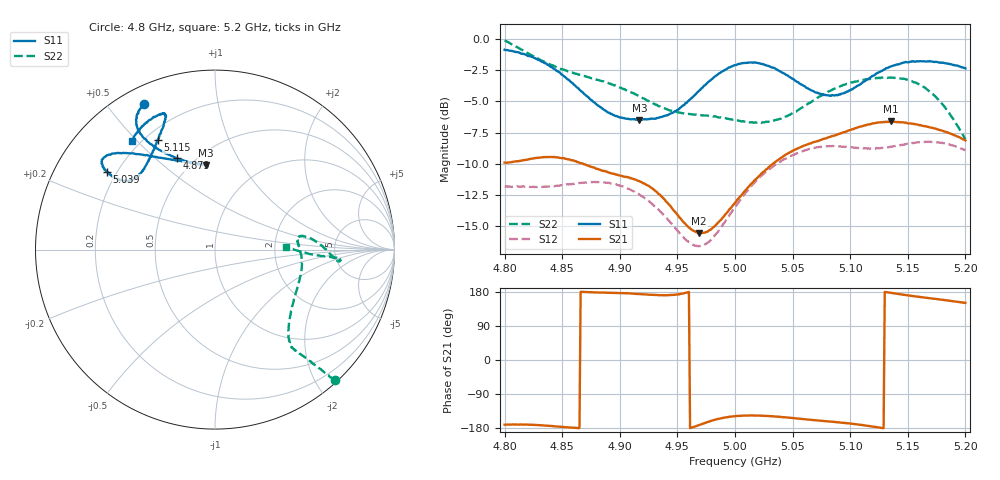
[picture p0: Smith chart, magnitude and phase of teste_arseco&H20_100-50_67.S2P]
! Network Analyzer HP8722D
! Hewlett-Packard
! Data name: Linha & Wilkinson
! Saver's name: Rodrigo Anjos
! Comments: Teste da utilização de aquisição
! continua pelo VNA HP8722D
! Time and date: 6/5/2025 13:07
!  Frequency  S11  S21  S12  S22
# HZ  S  MA R 50
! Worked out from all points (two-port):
!   401 points, 4.8 GHz to 5.2 GHz, reference 50 ohm
!   highest |S21| = -6.61 dB at 5.135 GHz (marker M1); lowest = -15.5 dB at 4.969 GHz (marker M2)
!   |S21| within 3 dB of the highest: 4.822 GHz to 4.854 GHz (31.33 MHz wide, 0.648 % of centre); 5.039 GHz to end of sweep
!   lowest |S11| = -6.5 dB at 4.917 GHz (marker M3), VSWR 2.80, Z = 29.2 + j35.6 ohm
!   |S11| at or under -10 dB: nowhere
!   |S22| runs from -8.0 to -0.1 dB; largest |S21 - S12| = 0.83
!   S11 on the Smith chart (normalised r, x): 4.8 GHz: 0.07, +0.62; 4.879 GHz: 0.40, +0.59; 5.039 GHz: 0.16, +0.31; 5.115 GHz: 0.25, +0.58; 5.2 GHz: 0.17, +0.48
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4.8e9  0.9047 115.9  0.3201 -170.7  0.2566 -86.1  0.9855 -47.5
4.835e9  0.7994 122.6  0.3366 -172.9  0.2566 -76.4  0.8072 -49.8
4.867e9  0.6146 117.9  0.3179 179.8  0.2657 -67.2  0.7149 -51.5
4.879e9  0.5511 112.6  0.303 178.5  0.2674 -66.1  0.6894 -51.9
4.899e9  0.487 101.8  0.2846 176.7  0.2599 -66.6  0.6418 -50.2
4.917e9  0.4742 96.1  0.2699 174.1  0.2384 -68.5  0.5894 -45.7
4.934e9  0.484 99.1  0.239 171.0  0.2068 -69.4  0.5378 -37.5
4.949e9  0.5165 108.7  0.2006 172.8  0.1731 -65.9  0.5106 -27.8
4.969e9  0.6211 123.5  0.167 -171.3  0.1482 -47.7  0.4963 -15.0
4.98e9  0.6899 129.5  0.1744 -160.0  0.1587 -35.0  0.491 -9.2
5e9  0.7857 137.2  0.2208 -148.5  0.2126 -21.5  0.4731 -0.4
5.019e9  0.8025 141.8  0.2768 -146.7  0.2725 -18.4  0.4619 5.8
5.039e9  0.741 144.2  0.3317 -150.0  0.3221 -18.2  0.4788 9.0
5.067e9  0.6205 142.0  0.3849 -158.1  0.3654 -20.5  0.5625 4.6
5.089e9  0.5947 132.5  0.4145 -164.3  0.3715 -23.8  0.6383 -1.9
5.115e9  0.6895 117.7  0.4543 -173.7  0.3641 -26.7  0.6898 -5.3
5.134e9  0.7726 111.1  0.4646 177.9  0.3691 -28.7  0.6994 -4.8
5.135e9  0.7754 111.1  0.4674 177.4  0.3703 -28.8  0.7005 -4.8
5.148e9  0.8086 110.3  0.463 171.6  0.379 -31.3  0.6908 -4.1
5.164e9  0.8136 113.3  0.4482 165.0  0.3875 -35.9  0.6416 -3.6
5.181e9  0.8031 119.4  0.4274 158.4  0.3829 -41.3  0.5418 -2.8
5.2e9  0.7623 127.4  0.3923 150.7  0.3585 -46.3  0.3969 2.5
